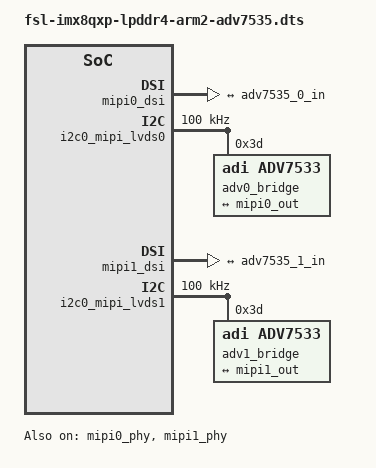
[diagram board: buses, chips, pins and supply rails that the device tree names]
/*
 * Copyright 2017 NXP
 *
 * This program is free software; you can redistribute it and/or
 * modify it under the terms of the GNU General Public License
 * as published by the Free Software Foundation; either version 2
 * of the License, or (at your option) any later version.
 *
 * This program is distributed in the hope that it will be useful,
 * but WITHOUT ANY WARRANTY; without even the implied warranty of
 * MERCHANTABILITY or FITNESS FOR A PARTICULAR PURPOSE.  See the
 * GNU General Public License for more details.
 */

#include "fsl-imx8qxp-lpddr4-arm2.dts"

&mipi0_phy {
	status = "okay";
};

&mipi0_dsi {
	status = "okay";

	port@1 {
		mipi0_out: endpoint {
			remote-endpoint = <&adv7535_0_in>;
		};
	};
};

&i2c0_mipi_lvds0 {
	#address-cells = <1>;
	#size-cells = <0>;
	pinctrl-names = "default";
	pinctrl-0 = <&pinctrl_i2c0_mipi_lvds0>;
	clock-frequency = <100000>;
	status = "okay";

	adv0_bridge: adv7535@3D {
		compatible = "adi,adv7533";
		reg = <0x3D>;
		adi,dsi-lanes = <4>;
		status = "okay";

		port {
			adv7535_0_in: endpoint {
				remote-endpoint = <&mipi0_out>;
			};
		};
	};
};

&mipi1_phy {
	status = "okay";
};

&mipi1_dsi {
	status = "okay";

	port@1 {
		mipi1_out: endpoint {
			remote-endpoint = <&adv7535_1_in>;
		};
	};
};

&i2c0_mipi_lvds1 {
	#address-cells = <1>;
	#size-cells = <0>;
	pinctrl-names = "default";
	pinctrl-0 = <&pinctrl_i2c0_mipi_lvds1>;
	clock-frequency = <100000>;
	status = "okay";

	adv1_bridge: adv7535@3D {
		compatible = "adi,adv7533";
		reg = <0x3D>;
		adi,dsi-lanes = <4>;
		status = "okay";

		port {
			adv7535_1_in: endpoint {
				remote-endpoint = <&mipi1_out>;
			};
		};
	};
};
